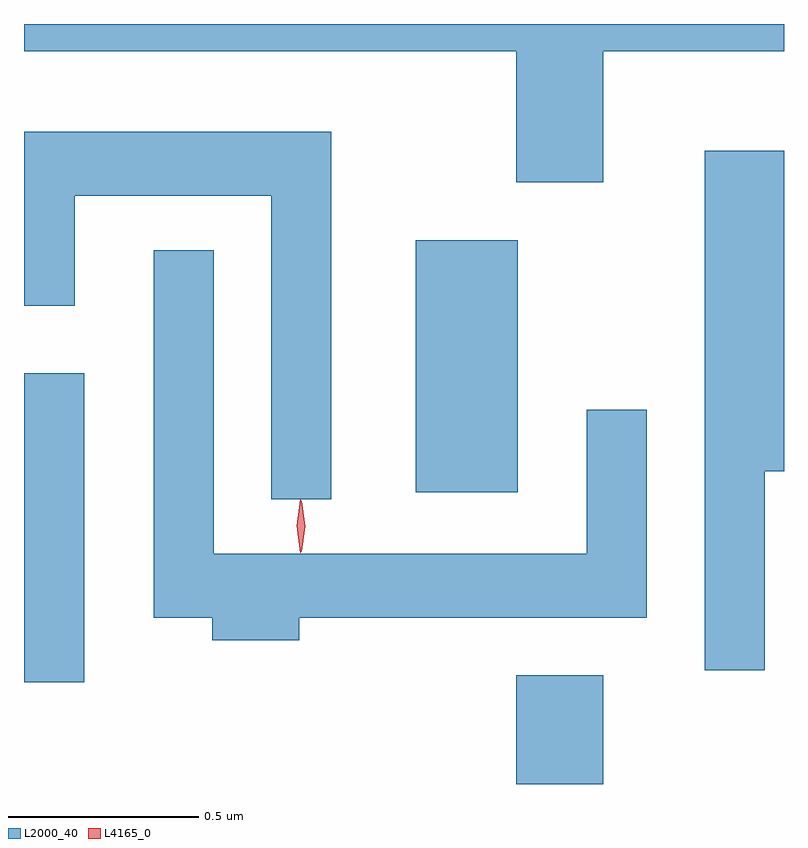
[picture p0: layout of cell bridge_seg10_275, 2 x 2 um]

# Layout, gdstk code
import gdstk
lib = gdstk.Library(unit=1e-6, precision=1e-09)
def R(c, l, rs):  # rectangles x0, y0, x1, y1
    for r in rs: c.add(gdstk.rectangle(r[:2], r[2:], *l))
def P(c, l, *ps):  # polygons
    for p in ps: c.add(gdstk.Polygon(p, *l))
L2000_40 = (2000, 40)
L4165_0 = (4165, 0)

bridge_seg10_275 = lib.new_cell('bridge_seg10_275')
R(bridge_seg10_275, L2000_40, [(1721.791,2089.788,1722.019,2090.074), (1720.495,2090.056,1720.654,2090.869), (1721.526,2090.556,1721.794,2091.219)])
P(bridge_seg10_275, L2000_40, [(1722.019,2091.716),(1722.495,2091.716),(1722.495,2091.788),(1720.495,2091.788),(1720.495,2091.716),(1721.791,2091.716),(1721.791,2091.371),(1722.019,2091.371)],
  [(1721.304,2091.504),(1720.495,2091.504),(1720.495,2091.046),(1720.629,2091.046),(1720.629,2091.336),(1721.146,2091.336),(1721.146,2090.538),(1721.304,2090.538)],
  [(1722.444,2090.611),(1722.495,2090.611),(1722.495,2091.454),(1722.286,2091.454),(1722.286,2090.088),(1722.444,2090.088)],
  [(1721.219,2090.226),(1722.134,2090.226),(1722.134,2090.773),(1721.976,2090.773),(1721.976,2090.394),(1720.994,2090.394),(1720.994,2091.193),(1720.836,2091.193),(1720.836,2090.226),(1720.991,2090.226),(1720.991,2090.166),(1721.219,2090.166)])
P(bridge_seg10_275, L4165_0, [(1721.222,2090.397),(1721.213,2090.467),(1721.222,2090.536),(1721.223,2090.536),(1721.223,2090.536),(1721.233,2090.467),(1721.223,2090.397),(1721.223,2090.397)],
  [(1721.225,2090.399),(1721.225,2090.4),(1721.215,2090.466),(1721.225,2090.532),(1721.225,2090.533),(1721.226,2090.532),(1721.235,2090.466),(1721.226,2090.4)])

lib.write_gds('bridge_seg10_275.gds')
